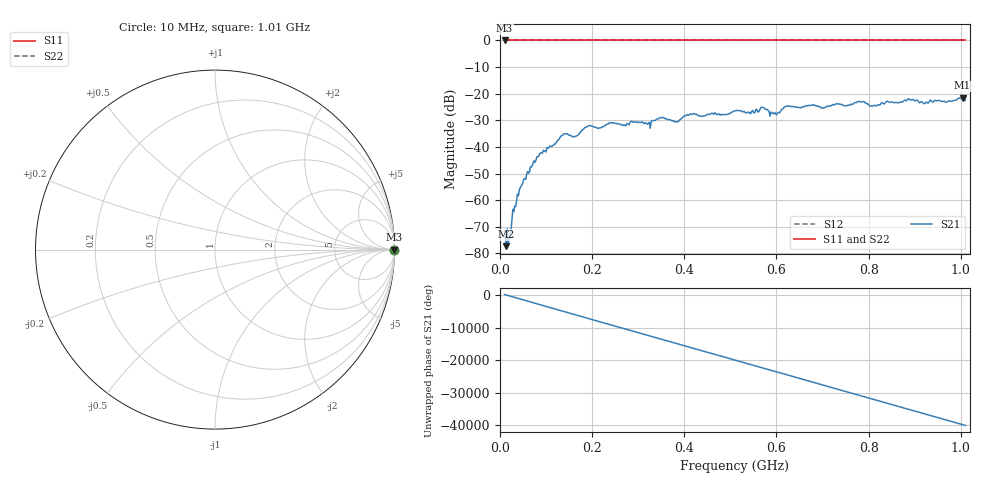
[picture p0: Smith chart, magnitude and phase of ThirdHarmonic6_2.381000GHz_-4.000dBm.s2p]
! 8/17/2025 3:47:32 AM
! C:\ANRITSUVNA\TEMP\TEMP.S2P
! CHANNEL.1
! TR.MEASUREMENT
! RAW.DATA
! RF.CORRECTION.OFF
! AVERAGING.OFF
! IF.BANDWIDTH: 5KHZ
! SWEEPTYPE:  FREQ.SWEEP(Linear)
! Reference Plane Port Info
! PORT:  PORT1  PORT2
! DISTANCE:  0  m  0  m
! TIME:  0  s  0  s
! PHASE.OFFSET:  0  deg.  0  deg.
! LOSS:  0  dB  0  dB
! REF.LOSS:  0  dB  0  dB
! REF.FREQ:  0  Hz  0  Hz
! Power Info
! POWER:  -20  dBm  -20  dBm
! EFF.POWER:  -20  dBm  -20  dBm
! SOURCE.ATTEN:  0  dB  0  dB
! TEST.ATTEN:  0  dB  0  dB
# GHZ S RI R 50.0
! FREQ.GHZ  S11RE  S11IM  S21RE  S21IM  S12RE  S12IM  S22RE  S22IM
!; PortSelection: Port_12
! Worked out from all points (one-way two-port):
!   501 points, 10 MHz to 1.01 GHz, reference 50 ohm
!   highest |S21| = -21.47 dB at 1.004 GHz (marker M1); lowest = -77.3 dB at 14 MHz (marker M2)
!   lowest |S11| = 0.0 dB at 10 MHz (marker M3)
!   |S11| at or under -10 dB: nowhere
!   |S22| runs from 0.0 to 0.0 dB; largest |S21 - S12| = 1.1
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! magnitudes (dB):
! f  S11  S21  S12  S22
! 10 MHz  0.0  -71.6  0.0  0.0
! 14 MHz  0.0  -77.3  0.0  0.0
! 22 MHz  0.0  -74.0  0.0  0.0
! 30 MHz  0.0  -64.3  0.0  0.0
! 42 MHz  0.0  -56.2  0.0  0.0
! 76 MHz  0.0  -45.8  0.0  0.0
! 136 MHz  0.0  -35.6  0.0  0.0
! 162 MHz  0.0  -36.1  0.0  0.0
! 178 MHz  0.0  -33.6  0.0  0.0
! 240 MHz  0.0  -31.0  0.0  0.0
! 322 MHz  0.0  -31.1  0.0  0.0
! 344 MHz  0.0  -29.5  0.0  0.0
! 384 MHz  0.0  -30.6  0.0  0.0
! 416 MHz  0.0  -27.8  0.0  0.0
! 510 MHz  0.0  -26.5  0.0  0.0
! 570 MHz  0.0  -25.1  0.0  0.0
! 598 MHz  0.0  -27.6  0.0  0.0
! 622 MHz  0.0  -24.7  0.0  0.0
! 678 MHz  0.0  -24.3  0.0  0.0
! 844 MHz  0.0  -23.1  0.0  0.0
! 1.004 GHz  0.0  -21.5  0.0  0.0
! 1.01 GHz  0.0  -22.4  0.0  0.0
